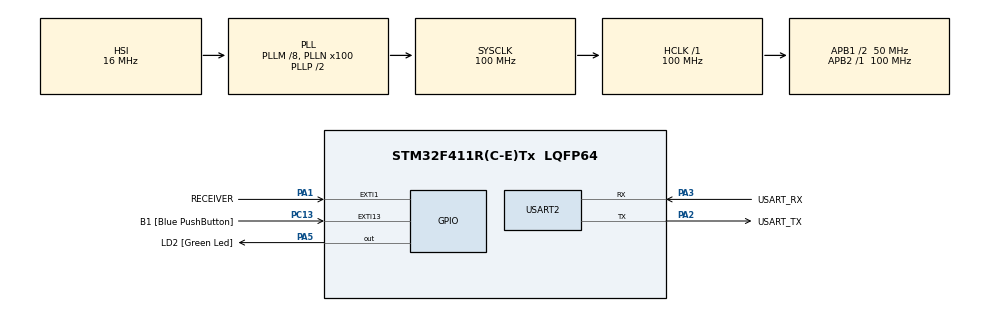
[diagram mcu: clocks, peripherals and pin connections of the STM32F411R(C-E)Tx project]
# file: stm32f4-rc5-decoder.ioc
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Mcu.Family=STM32F4
Mcu.Name=STM32F411R(C-E)Tx
Mcu.Package=LQFP64
NVIC.EXTI15_10_IRQn=true\:0\:0\:false\:false\:true\:true\:true
NVIC.EXTI1_IRQn=true\:0\:0\:false\:false\:true\:true\:true
NVIC.PriorityGroup=NVIC_PRIORITYGROUP_0
NVIC.TIM1_TRG_COM_TIM11_IRQn=true\:0\:0\:false\:false\:true\:true\:true
PA1.GPIO_Label=RECEIVER
PA1.GPIO_ModeDefaultEXTI=GPIO_MODE_IT_RISING_FALLING
PA1.GPIO_PuPd=GPIO_PULLUP
PA1.Signal=GPXTI1
PA13.GPIO_Label=TMS
PA13.Mode=Serial_Wire
PA13.Signal=SYS_JTMS-SWDIO
PA14.GPIO_Label=TCK
PA14.Mode=Serial_Wire
PA14.Signal=SYS_JTCK-SWCLK
PA2.GPIO_Label=USART_TX
PA2.Mode=Asynchronous
PA2.Signal=USART2_TX
PA3.GPIO_Label=USART_RX
PA3.Mode=Asynchronous
PA3.Signal=USART2_RX
PA5.GPIO_Label=LD2 [Green Led]
PA5.Signal=GPIO_Output
PB3.GPIO_Label=SWO
PB3.Signal=SYS_JTDO-SWO
PC13-ANTI_TAMP.GPIO_Label=B1 [Blue PushButton]
PC13-ANTI_TAMP.GPIO_ModeDefaultEXTI=GPIO_MODE_IT_FALLING
PC13-ANTI_TAMP.Signal=GPXTI13
PC14-OSC32_IN.Mode=LSE-External-Oscillator
PC14-OSC32_IN.Signal=RCC_OSC32_IN
PC15-OSC32_OUT.Mode=LSE-External-Oscillator
PC15-OSC32_OUT.Signal=RCC_OSC32_OUT
PH0\ -\ OSC_IN.Mode=HSE-External-Clock-Source
PH0\ -\ OSC_IN.Signal=RCC_OSC_IN
PH1\ -\ OSC_OUT.Mode=HSE-External-Clock-Source
PH1\ -\ OSC_OUT.Signal=RCC_OSC_OUT
ProjectManager.HeapSize=0x200
ProjectManager.StackSize=0x400
ProjectManager.TargetToolchain=STM32CubeIDE
RCC.48MHZClocksFreq_Value=50000000
RCC.AHBFreq_Value=100000000
RCC.APB1CLKDivider=RCC_HCLK_DIV2
RCC.APB1Freq_Value=50000000
RCC.APB1TimFreq_Value=100000000
RCC.APB2Freq_Value=100000000
RCC.APB2TimFreq_Value=100000000
RCC.CortexFreq_Value=100000000
RCC.FLatency-AdvancedSettings=FLASH_LATENCY_3
RCC.HCLKFreq_Value=100000000
RCC.HSE_VALUE=8000000
RCC.HSI_VALUE=16000000
RCC.PLLM=8
RCC.PLLN=100
RCC.SYSCLKFreq_VALUE=100000000
RCC.SYSCLKSource=RCC_SYSCLKSOURCE_PLLCLK
RCC.VCOOutputFreq_Value=200000000
TIM11.Channel=TIM_CHANNEL_1
TIM11.Period=65535
TIM11.Prescaler=99
USART2.VirtualMode=VM_ASYNC
VP_TIM11_VS_ClockSourceINT.Mode=Enable_Timer
VP_TIM11_VS_no_output1.Mode=Output Compare1 No Output
board=NUCLEO-F411RE

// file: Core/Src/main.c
/* USER CODE BEGIN Header */
/**
  ******************************************************************************
  * @file           : main.c
  * @brief          : Main program body
  ******************************************************************************
  * @attention
  *
  * <h2><center>&copy; Copyright (c) 2021 STMicroelectronics.
  * All rights reserved.</center></h2>
  *
  * This software component is licensed by ST under BSD 3-Clause license,
  * the "License"; You may not use this file except in compliance with the
  * License. You may obtain a copy of the License at:
  *                        opensource.org/licenses/BSD-3-Clause
  *
  ******************************************************************************
  */
/* USER CODE END Header */
#include "main.h"
#include "tim.h"
#include "usart.h"
#include "gpio.h"

/* USER CODE BEGIN Includes */

#include <string.h>
#include <stdio.h>
#include "com.h"
#include "rc5_decoder.h"

/* USER CODE END Includes */

/* USER CODE BEGIN PV */

DecoderRC5_t decoder;

/* USER CODE END PV */

void SystemClock_Config(void);

int main(void)
{

  /* MCU Configuration--------------------------------------------------------*/

  /* Reset of all peripherals, Initializes the Flash interface and the Systick. */
  HAL_Init();

  /* Configure the system clock */
  SystemClock_Config();

  /* Initialize all configured peripherals */
  MX_GPIO_Init();
  MX_USART2_UART_Init();
  MX_TIM11_Init();

  /* Infinite loop */
  /* USER CODE BEGIN WHILE */

  UART_SetSTDOUT(&huart2);

  DecoderRC5_Init(&decoder, &htim11, RECEIVER_GPIO_Port, RECEIVER_Pin);

  while(1) {

	  RC5_Message_t message;

	  if(DecoderRC5_GetMessage(&decoder, &message)) {

		  printf("Toggle: %u Address: 0x%02X Command: 0x%02X\n\r",
				  message.toggle,
				  message.address,
				  message.command
		  );
	  }

    /* USER CODE END WHILE */

  }
}

void SystemClock_Config(void)
{
  RCC_OscInitTypeDef RCC_OscInitStruct = {0};
  RCC_ClkInitTypeDef RCC_ClkInitStruct = {0};

  /** Configure the main internal regulator output voltage
  */
  __HAL_RCC_PWR_CLK_ENABLE();
  __HAL_PWR_VOLTAGESCALING_CONFIG(PWR_REGULATOR_VOLTAGE_SCALE1);
  /** Initializes the RCC Oscillators according to the specified parameters
  * in the RCC_OscInitTypeDef structure.
  */
  RCC_OscInitStruct.OscillatorType = RCC_OSCILLATORTYPE_HSI;
  RCC_OscInitStruct.HSIState = RCC_HSI_ON;
  RCC_OscInitStruct.HSICalibrationValue = RCC_HSICALIBRATION_DEFAULT;
  RCC_OscInitStruct.PLL.PLLState = RCC_PLL_ON;
  RCC_OscInitStruct.PLL.PLLSource = RCC_PLLSOURCE_HSI;
  RCC_OscInitStruct.PLL.PLLM = 8;
  RCC_OscInitStruct.PLL.PLLN = 100;
  RCC_OscInitStruct.PLL.PLLP = RCC_PLLP_DIV2;
  RCC_OscInitStruct.PLL.PLLQ = 4;
  if (HAL_RCC_OscConfig(&RCC_OscInitStruct) != HAL_OK)
  {
    Error_Handler();
  }
  /** Initializes the CPU, AHB and APB buses clocks
  */
  RCC_ClkInitStruct.ClockType = RCC_CLOCKTYPE_HCLK|RCC_CLOCKTYPE_SYSCLK
                              |RCC_CLOCKTYPE_PCLK1|RCC_CLOCKTYPE_PCLK2;
  RCC_ClkInitStruct.SYSCLKSource = RCC_SYSCLKSOURCE_PLLCLK;
  RCC_ClkInitStruct.AHBCLKDivider = RCC_SYSCLK_DIV1;
  RCC_ClkInitStruct.APB1CLKDivider = RCC_HCLK_DIV2;
  RCC_ClkInitStruct.APB2CLKDivider = RCC_HCLK_DIV1;

  if (HAL_RCC_ClockConfig(&RCC_ClkInitStruct, FLASH_LATENCY_3) != HAL_OK)
  {
    Error_Handler();
  }
}

/* USER CODE BEGIN 4 */

void HAL_TIM_PeriodElapsedCallback(TIM_HandleTypeDef *htim) {
	DecoderRC5_PeriodElapsedCallback(&decoder, htim);
}

void HAL_GPIO_EXTI_Callback(uint16_t GPIO_Pin) {
	DecoderRC5_EXTI_Callback(&decoder, GPIO_Pin);
}

/* USER CODE END 4 */

void Error_Handler(void)
{
  __disable_irq();
  while (1)
  {
  }
}

/************************ (C) COPYRIGHT STMicroelectronics *****END OF FILE****/
